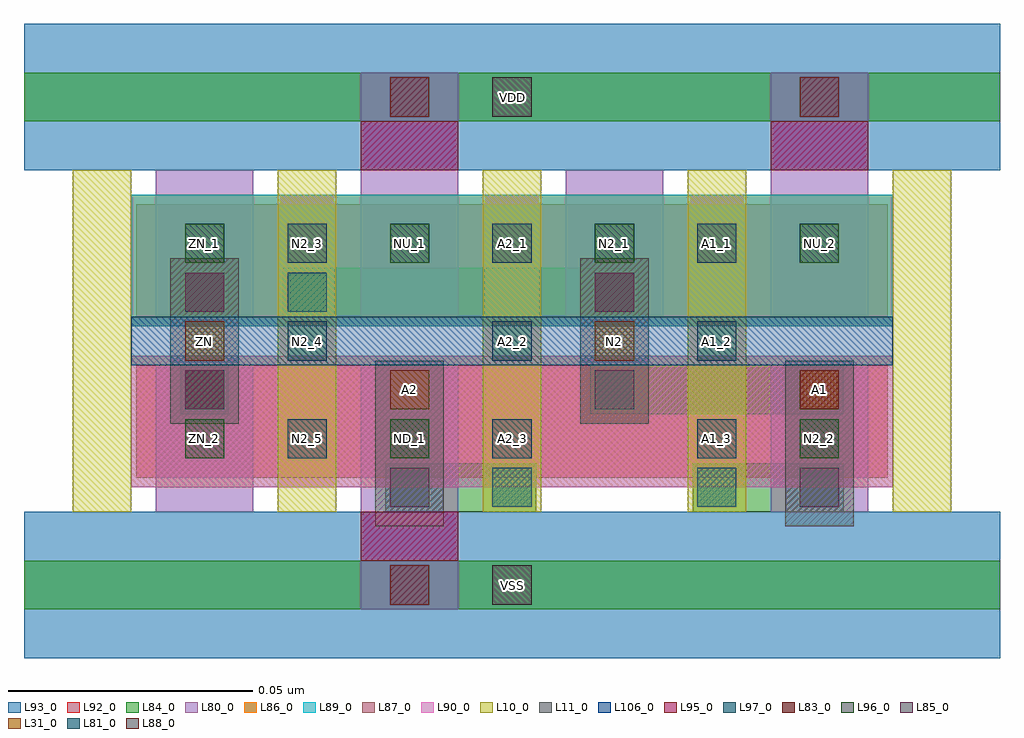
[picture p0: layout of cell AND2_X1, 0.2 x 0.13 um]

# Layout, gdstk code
import gdstk
lib = gdstk.Library(unit=1e-6, precision=1e-09)
def R(c, l, rs):  # rectangles x0, y0, x1, y1
    for r in rs: c.add(gdstk.rectangle(r[:2], r[2:], *l))
def A(c, l, x, y, w, h, nx, ny, dx, dy):  # array of equal rectangles
    R(c, l, [(x+i*dx, y+j*dy, x+i*dx+w, y+j*dy+h) for i in range(nx) for j in range(ny)])
L10_0 = (10, 0)
L11_0 = (11, 0)
L31_0 = (31, 0)
L80_0 = (80, 0)
L81_0 = (81, 0)
L83_0 = (83, 0)
L84_0 = (84, 0)
L85_0 = (85, 0)
L86_0 = (86, 0)
L87_0 = (87, 0)
L88_0 = (88, 0)
L89_0 = (89, 0)
L90_0 = (90, 0)
L92_0 = (92, 0)
L93_0 = (93, 0)
L95_0 = (95, 0)
L96_0 = (96, 0)
L97_0 = (97, 0)
L106_0 = (106, 0)

and2_x1 = lib.new_cell('AND2_X1')
A(and2_x1, L10_0, -0.027, 0.015, 0.012, 0.07, 5, 1, 0.042, 0)
R(and2_x1, L11_0, [(0.035,0.012,0.049,0.046), (0.119,0.012,0.133,0.046), (-0.007,0.033,0.007,0.067), (0.077,0.033,0.091,0.067)])
R(and2_x1, L31_0, [(0.038,0.036,0.046,0.044), (0.122,0.036,0.13,0.044), (-0.004,0.046,0.004,0.054), (0.08,0.046,0.088,0.054)])
A(and2_x1, L80_0, -0.01, 0.055, 0.02, 0.03, 4, 1, 0.042, 0)
R(and2_x1, L80_0, [(0.032,-0.005,0.052,0.025), (-0.01,0.015,0.01,0.045), (0.032,0.015,0.052,0.045), (0.116,0.015,0.136,0.045), (0.032,0.075,0.052,0.105), (0.116,0.075,0.136,0.105)])
R(and2_x1, L81_0, [(0.059,0.016,0.067,0.024), (0.101,0.016,0.109,0.024), (0.017,0.056,0.025,0.064)])
R(and2_x1, L83_0, [(0.038,-0.004,0.046,0.004), (-0.004,0.036,0.004,0.044), (0.122,0.036,0.13,0.044), (-0.004,0.056,0.004,0.064), (0.08,0.056,0.088,0.064), (0.038,0.096,0.046,0.104), (0.122,0.096,0.13,0.104)])
A(and2_x1, L84_0, 0.016, 0.055, 0.031, 0.01, 3, 1, 0.021, 0)
R(and2_x1, L84_0, [(-0.037,-0.005,0.163,0.005), (0.037,0.015,0.068,0.025), (0.1,0.015,0.131,0.025), (-0.005,0.035,0.005,0.045), (0.079,0.035,0.11,0.045), (0.1,0.035,0.131,0.045), (-0.005,0.055,0.005,0.065), (-0.037,0.095,0.163,0.105)])
R(and2_x1, L85_0, [(0.038,0.016,0.046,0.024), (0.122,0.016,0.13,0.024), (-0.004,0.036,0.004,0.044), (0.08,0.036,0.088,0.044), (-0.004,0.056,0.004,0.064), (0.08,0.056,0.088,0.064)])
R(and2_x1, L86_0, [(-0.015,0.053,0.141,0.08)])
R(and2_x1, L87_0, [(-0.015,0.02,0.141,0.047)])
R(and2_x1, L88_0, [(0.059,-0.004,0.067,0.004), (0.059,0.096,0.067,0.104)])
R(and2_x1, L89_0, [(-0.015,0.053,0.141,0.08)])
R(and2_x1, L90_0, [(-0.015,0.02,0.141,0.047)])
R(and2_x1, L92_0, [(-0.014,0.022,0.14,0.045), (-0.014,0.055,0.14,0.078)])
R(and2_x1, L93_0, [(-0.037,-0.015,0.163,0.015), (-0.037,0.085,0.163,0.115)])
R(and2_x1, L95_0, [(0.032,0.005,0.052,0.015), (0.032,0.085,0.052,0.095), (0.116,0.085,0.136,0.095)])
A(and2_x1, L96_0, -0.004, 0.066, 0.008, 0.008, 4, 1, 0.042, 0)
R(and2_x1, L96_0, [(-0.004,0.026,0.004,0.034), (0.038,0.026,0.046,0.034), (0.122,0.026,0.13,0.034)])
A(and2_x1, L97_0, 0.017, 0.026, 0.008, 0.008, 3, 3, 0.042, 0.02)
R(and2_x1, L106_0, [(-0.015,0.045,0.141,0.055)])
and2_x1.add(gdstk.Label('ND_1', (0.042,0.03), layer=96, texttype=0))
and2_x1.add(gdstk.Label('NU_2', (0.126,0.07), layer=96, texttype=0))
and2_x1.add(gdstk.Label('NU_1', (0.042,0.07), layer=96, texttype=0))
and2_x1.add(gdstk.Label('N2_2', (0.126,0.03), layer=96, texttype=0))
and2_x1.add(gdstk.Label('N2_1', (0.084,0.07), layer=96, texttype=0))
and2_x1.add(gdstk.Label('ZN_1', (0,0.07), layer=96, texttype=0))
and2_x1.add(gdstk.Label('ZN_2', (0,0.03), layer=96, texttype=0))
and2_x1.add(gdstk.Label('A1', (0.126,0.04), layer=31, texttype=0))
and2_x1.add(gdstk.Label('A2', (0.042,0.04), layer=31, texttype=0))
and2_x1.add(gdstk.Label('N2', (0.084,0.05), layer=31, texttype=0))
and2_x1.add(gdstk.Label('ZN', (0,0.05), layer=31, texttype=0))
and2_x1.add(gdstk.Label('A2_1', (0.063,0.07), layer=97, texttype=0))
and2_x1.add(gdstk.Label('A2_3', (0.063,0.03), layer=97, texttype=0))
and2_x1.add(gdstk.Label('A1_3', (0.105,0.03), layer=97, texttype=0))
and2_x1.add(gdstk.Label('A1_1', (0.105,0.07), layer=97, texttype=0))
and2_x1.add(gdstk.Label('N2_5', (0.021,0.03), layer=97, texttype=0))
and2_x1.add(gdstk.Label('N2_3', (0.021,0.07), layer=97, texttype=0))
and2_x1.add(gdstk.Label('A1_2', (0.105,0.05), layer=97, texttype=0))
and2_x1.add(gdstk.Label('A2_2', (0.063,0.05), layer=97, texttype=0))
and2_x1.add(gdstk.Label('N2_4', (0.021,0.05), layer=97, texttype=0))
and2_x1.add(gdstk.Label('VSS', (0.063,0), layer=88, texttype=0))
and2_x1.add(gdstk.Label('VDD', (0.063,0.1), layer=88, texttype=0))

lib.write_gds('AND2_X1.gds')
